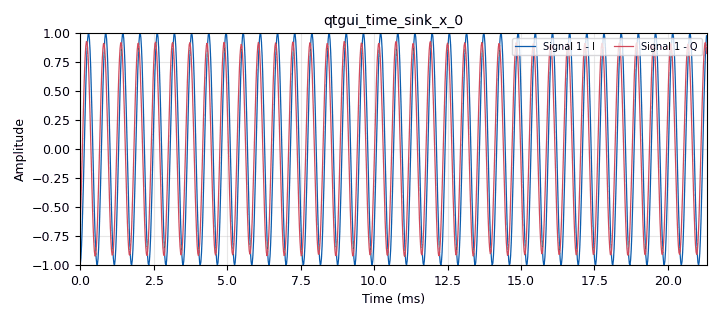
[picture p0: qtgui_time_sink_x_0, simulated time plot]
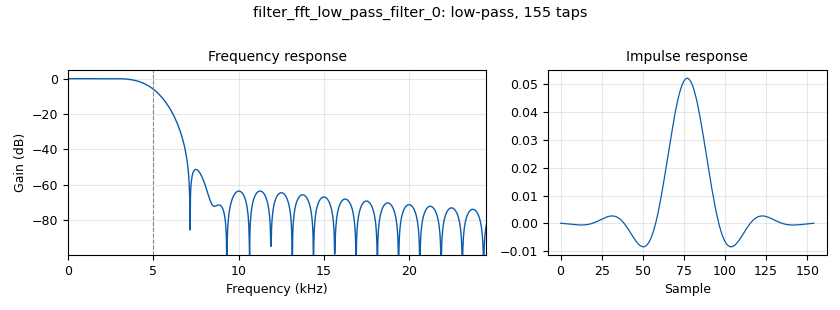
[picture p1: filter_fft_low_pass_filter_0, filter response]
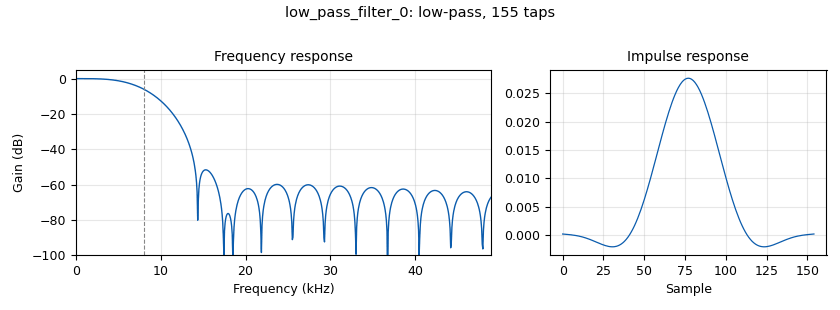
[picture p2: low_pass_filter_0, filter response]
options:
  parameters:
    generate_options: qt_gui
    id: ex2_03
    output_language: python
    title: Figure 2.7 Narrowband FM signal emission and reception
  states: {}

blocks:
- name: D
  id: variable
  parameters:
    value: '4'
  states: {}
- name: Vnoise
  id: variable_qtgui_range
  parameters:
    start: '0'
    step: '.01'
    stop: '1'
    value: '.3'
  states: {}
- name: df
  id: variable_qtgui_range
  parameters:
    start: '0'
    step: '1'
    stop: samp_rate/2
    value: '0'
  states: {}
- name: samp_rate
  id: variable
  parameters:
    value: '48000'
  states: {}
- name: analog_nbfm_rx_0
  id: analog_nbfm_rx
  parameters:
    audio_rate: samp_rate
    max_dev: 5e3
    quad_rate: samp_rate*D
    tau: '75e-6'
  states: {}
- name: analog_nbfm_tx_0
  id: analog_nbfm_tx
  parameters:
    audio_rate: samp_rate
    fh: '-1.0'
    max_dev: 5e3
    quad_rate: samp_rate*D
    tau: '75e-6'
  states: {}
- name: analog_sig_source_x_0
  id: analog_sig_source_x
  parameters:
    amp: '1'
    freq: '1710'
    offset: '0'
    phase: '0'
    samp_rate: samp_rate
    type: float
    waveform: analog.GR_COS_WAVE
  states: {}
- name: blocks_repeat_0
  id: blocks_repeat
  parameters:
    interp: '3'
    type: complex
  states: {}
- name: blocks_throttle2_0
  id: blocks_throttle2
  parameters:
    samples_per_second: samp_rate*D*3
    type: complex
  states: {}
- name: channels_channel_model_0
  id: channels_channel_model
  parameters:
    epsilon: '1.0'
    freq_offset: df
    noise_voltage: Vnoise
    seed: '0'
    taps: '1.0'
  states: {}
- name: filter_fft_low_pass_filter_0
  id: filter_fft_low_pass_filter
  parameters:
    cutoff_freq: '5000'
    decim: '1'
    gain: '1'
    samp_rate: samp_rate*D
    type: ccc
    width: samp_rate*D/64
    win: window.WIN_HAMMING
  states: {}
- name: low_pass_filter_0
  id: low_pass_filter
  parameters:
    cutoff_freq: '8000'
    decim: '3'
    gain: '1'
    samp_rate: samp_rate*D*3
    type: fir_filter_ccf
    width: samp_rate*D*3/64
    win: window.WIN_HAMMING
  states: {}
- name: qtgui_time_sink_x_0
  id: qtgui_time_sink_x
  parameters:
    comment: |-
      comparison of emitted 
      and received signals
    label1: Signal 1 - I
    label2: Signal 1 - Q
    nconnections: '2'
    size: '1024'
    srate: samp_rate
    type: float
  states: {}
- name: virtual_sink_0
  id: virtual_sink
  parameters:
    comment: emission chain
  states: {}
- name: virtual_source_0
  id: virtual_source
  parameters:
    comment: reception chain
  states: {}

connections:
- [analog_nbfm_rx_0, '0', qtgui_time_sink_x_0, '1']
- [analog_nbfm_tx_0, '0', filter_fft_low_pass_filter_0, '0']
- [analog_sig_source_x_0, '0', analog_nbfm_tx_0, '0']
- [analog_sig_source_x_0, '0', qtgui_time_sink_x_0, '0']
- [blocks_repeat_0, '0', virtual_sink_0, '0']
- [blocks_throttle2_0, '0', channels_channel_model_0, '0']
- [channels_channel_model_0, '0', low_pass_filter_0, '0']
- [filter_fft_low_pass_filter_0, '0', blocks_repeat_0, '0']
- [low_pass_filter_0, '0', analog_nbfm_rx_0, '0']
- [virtual_source_0, '0', blocks_throttle2_0, '0']

metadata:
  file_format: 1
  grc_version: 3.10.9.2
